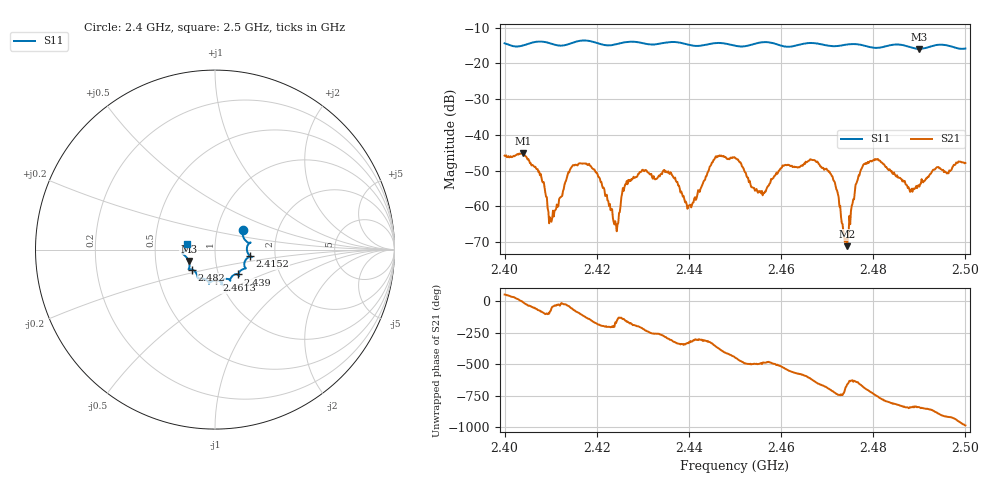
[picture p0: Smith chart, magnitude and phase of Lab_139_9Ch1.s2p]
# Hz S RI R 50
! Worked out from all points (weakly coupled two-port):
!   601 points, 2.4 GHz to 2.5 GHz, reference 50 ohm
!   highest |S21| = -45.04 dB at 2.404 GHz (marker M1); lowest = -71.2 dB at 2.4743 GHz (marker M2)
!   lowest |S11| = -15.9 dB at 2.49 GHz (marker M3), VSWR 1.38, Z = 36.9 - j4.81 ohm
!   |S11| at or under -10 dB: start of sweep to end of sweep
!   S12 and S22 are empty: the file has one direction only
!   S11 on the Smith chart (normalised r, x): 2.4 GHz: 1.33, +0.31; 2.4152 GHz: 1.48, -0.11; 2.439 GHz: 1.24, -0.36; 2.4613 GHz: 0.96, -0.34; 2.482 GHz: 0.76, -0.17; 2.5 GHz: 0.73, +0.05
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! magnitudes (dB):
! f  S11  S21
! 2.4 GHz  -14.4  -45.8
! 2.404 GHz  -15.0  -45.0
! 2.408 GHz  -13.9  -52.0
! 2.4102 GHz  -14.5  -64.3
! 2.4152 GHz  -14.1  -48.6
! 2.4167 GHz  -13.6  -48.0
! 2.4202 GHz  -14.3  -51.1
! 2.4242 GHz  -14.6  -65.0
! 2.4267 GHz  -14.0  -53.8
! 2.4333 GHz  -14.6  -51.7
! 2.439 GHz  -14.5  -58.0
! 2.45 GHz  -15.0  -46.4
! 2.4558 GHz  -14.1  -55.7
! 2.4613 GHz  -15.3  -48.5
! 2.4667 GHz  -14.3  -47.0
! 2.4712 GHz  -15.2  -51.6
! 2.4743 GHz  -14.7  -71.2
! 2.4777 GHz  -14.9  -48.9
! 2.482 GHz  -15.4  -47.9
! 2.4833 GHz  -15.0  -49.9
! 2.49 GHz  -15.9  -54.5
! 2.5 GHz  -15.8  -47.9
